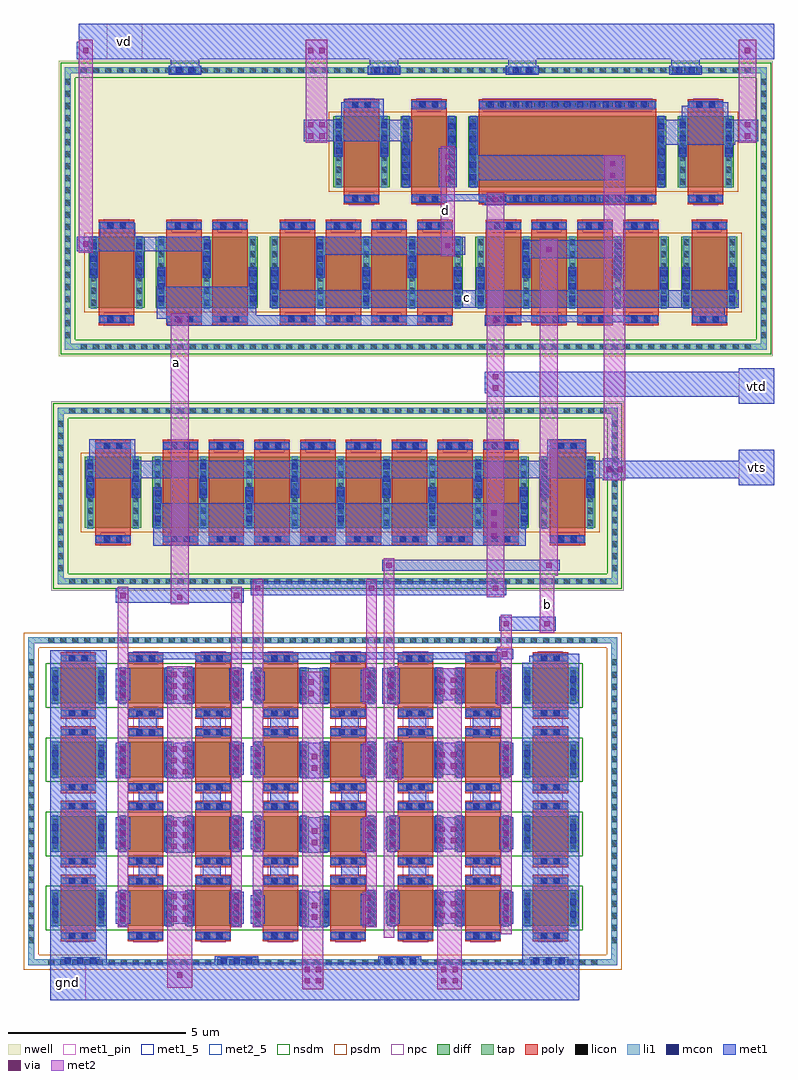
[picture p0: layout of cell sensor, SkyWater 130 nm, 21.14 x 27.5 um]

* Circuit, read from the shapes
.subckt sensor a b c d gnd vd vtd vts
XM1 gnd gnd gnd gnd sky130_fd_pr__nfet_01v8 w=1 l=1 m=8
XM2 gnd b a gnd sky130_fd_pr__nfet_01v8 w=1 l=1 m=8
XM3 gnd b vtd gnd sky130_fd_pr__nfet_01v8 w=1 l=1 m=8
XM4 gnd b b gnd sky130_fd_pr__nfet_01v8 w=1 l=1 m=8
XM5 vts vts vts vts sky130_fd_pr__pfet_01v8 w=2 l=1 m=2
XM6 vd vd vd vd sky130_fd_pr__pfet_01v8 w=2 l=1 m=3
XM7 vts vtd vtd vts sky130_fd_pr__pfet_01v8 w=2 l=1 m=8
XM8 vd a a vd sky130_fd_pr__pfet_01v8 w=2 l=1 m=2
XM9 d a c vd sky130_fd_pr__pfet_01v8 w=2 l=1 m=4
XM10 d vtd vd vd sky130_fd_pr__pfet_01v8 w=2 l=1
XM11 vd vtd vts vd sky130_fd_pr__pfet_01v8 w=2 l=5
XM12 b vtd c vd sky130_fd_pr__pfet_01v8 w=2 l=1 m=4
XM13 c c c vd sky130_fd_pr__pfet_01v8 w=2 l=1
.ends

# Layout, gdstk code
import gdstk
lib = gdstk.Library(unit=1e-6, precision=1e-09)
def R(c, l, rs):  # rectangles x0, y0, x1, y1
    for r in rs: c.add(gdstk.rectangle(r[:2], r[2:], *l))
def A(c, l, x, y, w, h, nx, ny, dx, dy):  # array of equal rectangles
    R(c, l, [(x+i*dx, y+j*dy, x+i*dx+w, y+j*dy+h) for i in range(nx) for j in range(ny)])
nwell = (64, 20)
diff = (65, 20)
tap = (65, 44)
poly = (66, 20)
licon = (66, 44)
li1 = (67, 20)
mcon = (67, 44)
met1_5 = (68, 5)
met1_pin = (68, 16)
met1 = (68, 20)
via = (68, 44)
met2_5 = (69, 5)
met2 = (69, 20)
nsdm = (93, 44)
psdm = (94, 20)
npc = (95, 20)

sky130_fd_pr__pfet_01v8_ = lib.new_cell('sky130_fd_pr__pfet_01v8_SKTYVM')
R(sky130_fd_pr__pfet_01v8_, nwell, [(-2.97,-1.5,2.97,1.5)])
R(sky130_fd_pr__pfet_01v8_, diff, [(-2.79,-1,2.79,1)])
R(sky130_fd_pr__pfet_01v8_, poly, [(-2.5,-1.485,2.5,1.485)])
A(sky130_fd_pr__pfet_01v8_, licon, -2.295, -1.405, 0.17, 0.17, 14, 2, 0.34, 2.64)
A(sky130_fd_pr__pfet_01v8_, licon, -2.73, -0.935, 0.17, 0.17, 1, 6, 0, 0.34)
A(sky130_fd_pr__pfet_01v8_, licon, 2.56, -0.935, 0.17, 0.17, 1, 6, 0, 0.34)
R(sky130_fd_pr__pfet_01v8_, li1, [(-2.5,-1.405,2.5,-1.235), (-2.73,-1.02,-2.56,1.02), (2.56,-1.02,2.73,1.02), (-2.5,1.235,2.5,1.405)])
A(sky130_fd_pr__pfet_01v8_, mcon, -2.245, -1.405, 0.17, 0.17, 13, 2, 0.36, 2.64)
A(sky130_fd_pr__pfet_01v8_, mcon, -2.73, -0.805, 0.17, 0.17, 1, 5, 0, 0.36)
A(sky130_fd_pr__pfet_01v8_, mcon, 2.56, -0.805, 0.17, 0.17, 1, 5, 0, 0.36)
R(sky130_fd_pr__pfet_01v8_, met1, [(-2.48,-1.435,2.48,-1.205), (-2.76,-1,-2.53,1), (2.53,-1,2.76,1), (-2.48,1.205,2.48,1.435)])
R(sky130_fd_pr__pfet_01v8_, psdm, [(-2.915,-1.125,2.915,1.125)])
R(sky130_fd_pr__pfet_01v8_, npc, [(-2.395,-1.505,2.395,-1.135), (-2.395,1.135,2.395,1.505)])

c_sky130_fd_pr__pfet_01v8_ = lib.new_cell('sky130_fd_pr__pfet_01v8_3HGYVM')
R(c_sky130_fd_pr__pfet_01v8_, nwell, [(-0.97,-1.5,0.97,1.5)])
R(c_sky130_fd_pr__pfet_01v8_, diff, [(-0.79,-1,0.79,1)])
R(c_sky130_fd_pr__pfet_01v8_, poly, [(-0.5,-1.485,0.5,1.485)])
A(c_sky130_fd_pr__pfet_01v8_, licon, -0.73, -0.935, 0.17, 0.17, 1, 6, 0, 0.34)
A(c_sky130_fd_pr__pfet_01v8_, licon, 0.56, -0.935, 0.17, 0.17, 1, 6, 0, 0.34)
R(c_sky130_fd_pr__pfet_01v8_, licon, [(-0.255,-1.405,-0.085,-1.235), (0.085,-1.405,0.255,-1.235), (-0.255,1.235,-0.085,1.405), (0.085,1.235,0.255,1.405)])
R(c_sky130_fd_pr__pfet_01v8_, li1, [(-0.5,-1.405,0.5,-1.235), (-0.73,-1.02,-0.56,1.02), (0.56,-1.02,0.73,1.02), (-0.5,1.235,0.5,1.405)])
A(c_sky130_fd_pr__pfet_01v8_, mcon, -0.73, -0.805, 0.17, 0.17, 1, 5, 0, 0.36)
A(c_sky130_fd_pr__pfet_01v8_, mcon, 0.56, -0.805, 0.17, 0.17, 1, 5, 0, 0.36)
R(c_sky130_fd_pr__pfet_01v8_, mcon, [(-0.265,-1.405,-0.095,-1.235), (0.095,-1.405,0.265,-1.235), (-0.265,1.235,-0.095,1.405), (0.095,1.235,0.265,1.405)])
R(c_sky130_fd_pr__pfet_01v8_, met1, [(-0.48,-1.435,0.48,-1.205), (-0.76,-1,-0.53,1), (0.53,-1,0.76,1), (-0.48,1.205,0.48,1.435)])
R(c_sky130_fd_pr__pfet_01v8_, psdm, [(-0.915,-1.125,0.915,1.125)])
R(c_sky130_fd_pr__pfet_01v8_, npc, [(-0.355,-1.505,0.355,-1.135), (-0.355,1.135,0.355,1.505)])

c_sky130_fd_pr__pfet_01v8__ = lib.new_cell('sky130_fd_pr__pfet_01v8_FVTXNM')
R(c_sky130_fd_pr__pfet_01v8__, nwell, [(-1.615,-1.5,1.615,1.5)])
R(c_sky130_fd_pr__pfet_01v8__, diff, [(-1.435,-1,1.435,1)])
R(c_sky130_fd_pr__pfet_01v8__, poly, [(-1.145,-1.485,-0.145,1.485), (0.145,-1.485,1.145,1.485)])
A(c_sky130_fd_pr__pfet_01v8__, licon, -1.375, -0.935, 0.17, 0.17, 3, 6, 1.29, 0.34)
R(c_sky130_fd_pr__pfet_01v8__, licon, [(-0.9,-1.405,-0.73,-1.235), (-0.56,-1.405,-0.39,-1.235), (0.39,-1.405,0.56,-1.235), (0.73,-1.405,0.9,-1.235), (-0.9,1.235,-0.73,1.405), (-0.56,1.235,-0.39,1.405), (0.39,1.235,0.56,1.405), (0.73,1.235,0.9,1.405)])
A(c_sky130_fd_pr__pfet_01v8__, li1, -1.375, -1.02, 0.17, 2.04, 3, 1, 1.29, 0)
R(c_sky130_fd_pr__pfet_01v8__, li1, [(-1.145,-1.405,-0.145,-1.235), (0.145,-1.405,1.145,-1.235), (-1.145,1.235,-0.145,1.405), (0.145,1.235,1.145,1.405)])
A(c_sky130_fd_pr__pfet_01v8__, mcon, -1.375, -0.83, 0.17, 0.17, 1, 3, 0, 0.36)
A(c_sky130_fd_pr__pfet_01v8__, mcon, 1.205, -0.83, 0.17, 0.17, 1, 3, 0, 0.36)
A(c_sky130_fd_pr__pfet_01v8__, mcon, -0.085, -0.06, 0.17, 0.17, 1, 3, 0, 0.36)
R(c_sky130_fd_pr__pfet_01v8__, mcon, [(-0.91,-1.405,-0.74,-1.235), (-0.55,-1.405,-0.38,-1.235), (0.38,-1.405,0.55,-1.235), (0.74,-1.405,0.91,-1.235), (-0.91,1.235,-0.74,1.405), (-0.55,1.235,-0.38,1.405), (0.38,1.235,0.55,1.405), (0.74,1.235,0.91,1.405)])
R(c_sky130_fd_pr__pfet_01v8__, met1, [(-1.125,-1.435,-0.165,-1.205), (0.165,-1.435,1.125,-1.205), (-1.405,-0.915,-1.175,0.145), (1.175,-0.915,1.405,0.145), (-0.115,-0.145,0.115,0.915), (-1.125,1.205,-0.165,1.435), (0.165,1.205,1.125,1.435)])
R(c_sky130_fd_pr__pfet_01v8__, psdm, [(-1.56,-1.125,1.56,1.125)])
R(c_sky130_fd_pr__pfet_01v8__, npc, [(-1,-1.505,-0.29,-1.135), (0.29,-1.505,1,-1.135), (-1,1.135,-0.29,1.505), (0.29,1.135,1,1.505)])

c_sky130_fd_pr__pfet_01v8___ = lib.new_cell('sky130_fd_pr__pfet_01v8_YAWWFM')
R(c_sky130_fd_pr__pfet_01v8___, nwell, [(-2.905,-1.5,2.905,1.5)])
R(c_sky130_fd_pr__pfet_01v8___, diff, [(-2.725,-1,2.725,1)])
A(c_sky130_fd_pr__pfet_01v8___, poly, -2.435, -1.485, 1, 2.97, 4, 1, 1.29, 0)
A(c_sky130_fd_pr__pfet_01v8___, licon, -2.665, -0.935, 0.17, 0.17, 5, 6, 1.29, 0.34)
R(c_sky130_fd_pr__pfet_01v8___, licon, [(-2.19,-1.405,-2.02,-1.235), (-1.85,-1.405,-1.68,-1.235), (-0.9,-1.405,-0.73,-1.235), (-0.56,-1.405,-0.39,-1.235), (0.39,-1.405,0.56,-1.235), (0.73,-1.405,0.9,-1.235), (1.68,-1.405,1.85,-1.235), (2.02,-1.405,2.19,-1.235), (-2.19,1.235,-2.02,1.405), (-1.85,1.235,-1.68,1.405), (-0.9,1.235,-0.73,1.405), (-0.56,1.235,-0.39,1.405), (0.39,1.235,0.56,1.405), (0.73,1.235,0.9,1.405), (1.68,1.235,1.85,1.405), (2.02,1.235,2.19,1.405)])
A(c_sky130_fd_pr__pfet_01v8___, li1, -2.435, -1.405, 1, 0.17, 4, 2, 1.29, 2.64)
A(c_sky130_fd_pr__pfet_01v8___, li1, -2.665, -1.02, 0.17, 2.04, 5, 1, 1.29, 0)
A(c_sky130_fd_pr__pfet_01v8___, mcon, -2.665, -0.83, 0.17, 0.17, 3, 3, 2.58, 0.36)
A(c_sky130_fd_pr__pfet_01v8___, mcon, -1.375, -0.06, 0.17, 0.17, 1, 3, 0, 0.36)
A(c_sky130_fd_pr__pfet_01v8___, mcon, 1.205, -0.06, 0.17, 0.17, 1, 3, 0, 0.36)
R(c_sky130_fd_pr__pfet_01v8___, mcon, [(-2.2,-1.405,-2.03,-1.235), (-1.84,-1.405,-1.67,-1.235), (-0.91,-1.405,-0.74,-1.235), (-0.55,-1.405,-0.38,-1.235), (0.38,-1.405,0.55,-1.235), (0.74,-1.405,0.91,-1.235), (1.67,-1.405,1.84,-1.235), (2.03,-1.405,2.2,-1.235), (-2.2,1.235,-2.03,1.405), (-1.84,1.235,-1.67,1.405), (-0.91,1.235,-0.74,1.405), (-0.55,1.235,-0.38,1.405), (0.38,1.235,0.55,1.405), (0.74,1.235,0.91,1.405), (1.67,1.235,1.84,1.405), (2.03,1.235,2.2,1.405)])
A(c_sky130_fd_pr__pfet_01v8___, met1, -2.415, -1.435, 0.96, 0.23, 4, 2, 1.29, 2.64)
A(c_sky130_fd_pr__pfet_01v8___, met1, -2.695, -0.915, 0.23, 1.06, 3, 1, 2.58, 0)
R(c_sky130_fd_pr__pfet_01v8___, met1, [(-1.405,-0.145,-1.175,0.915), (1.175,-0.145,1.405,0.915)])
R(c_sky130_fd_pr__pfet_01v8___, psdm, [(-2.85,-1.125,2.85,1.125)])
A(c_sky130_fd_pr__pfet_01v8___, npc, -2.29, -1.505, 0.71, 0.37, 4, 2, 1.29, 2.64)

c_sky130_fd_pr__pfet_01v8____ = lib.new_cell('sky130_fd_pr__pfet_01v8_YAEUFM')
R(c_sky130_fd_pr__pfet_01v8____, nwell, [(-5.485,-1.5,5.485,1.5)])
R(c_sky130_fd_pr__pfet_01v8____, diff, [(-5.305,-1,5.305,1)])
A(c_sky130_fd_pr__pfet_01v8____, poly, -5.015, -1.485, 1, 2.97, 8, 1, 1.29, 0)
A(c_sky130_fd_pr__pfet_01v8____, licon, -5.245, -0.935, 0.17, 0.17, 9, 6, 1.29, 0.34)
R(c_sky130_fd_pr__pfet_01v8____, licon, [(-4.77,-1.405,-4.6,-1.235), (-4.43,-1.405,-4.26,-1.235), (-3.48,-1.405,-3.31,-1.235), (-3.14,-1.405,-2.97,-1.235), (-2.19,-1.405,-2.02,-1.235), (-1.85,-1.405,-1.68,-1.235), (-0.9,-1.405,-0.73,-1.235), (-0.56,-1.405,-0.39,-1.235), (0.39,-1.405,0.56,-1.235), (0.73,-1.405,0.9,-1.235), (1.68,-1.405,1.85,-1.235), (2.02,-1.405,2.19,-1.235), (2.97,-1.405,3.14,-1.235), (3.31,-1.405,3.48,-1.235), (4.26,-1.405,4.43,-1.235), (4.6,-1.405,4.77,-1.235), (-4.77,1.235,-4.6,1.405), (-4.43,1.235,-4.26,1.405), (-3.48,1.235,-3.31,1.405), (-3.14,1.235,-2.97,1.405), (-2.19,1.235,-2.02,1.405), (-1.85,1.235,-1.68,1.405), (-0.9,1.235,-0.73,1.405), (-0.56,1.235,-0.39,1.405), (0.39,1.235,0.56,1.405), (0.73,1.235,0.9,1.405), (1.68,1.235,1.85,1.405), (2.02,1.235,2.19,1.405), (2.97,1.235,3.14,1.405), (3.31,1.235,3.48,1.405), (4.26,1.235,4.43,1.405), (4.6,1.235,4.77,1.405)])
A(c_sky130_fd_pr__pfet_01v8____, li1, -5.015, -1.405, 1, 0.17, 8, 2, 1.29, 2.64)
A(c_sky130_fd_pr__pfet_01v8____, li1, -5.245, -1.02, 0.17, 2.04, 9, 1, 1.29, 0)
A(c_sky130_fd_pr__pfet_01v8____, mcon, -5.245, -0.83, 0.17, 0.17, 5, 3, 2.58, 0.36)
A(c_sky130_fd_pr__pfet_01v8____, mcon, -3.955, -0.06, 0.17, 0.17, 4, 3, 2.58, 0.36)
R(c_sky130_fd_pr__pfet_01v8____, mcon, [(-4.78,-1.405,-4.61,-1.235), (-4.42,-1.405,-4.25,-1.235), (-3.49,-1.405,-3.32,-1.235), (-3.13,-1.405,-2.96,-1.235), (-2.2,-1.405,-2.03,-1.235), (-1.84,-1.405,-1.67,-1.235), (-0.91,-1.405,-0.74,-1.235), (-0.55,-1.405,-0.38,-1.235), (0.38,-1.405,0.55,-1.235), (0.74,-1.405,0.91,-1.235), (1.67,-1.405,1.84,-1.235), (2.03,-1.405,2.2,-1.235), (2.96,-1.405,3.13,-1.235), (3.32,-1.405,3.49,-1.235), (4.25,-1.405,4.42,-1.235), (4.61,-1.405,4.78,-1.235), (-4.78,1.235,-4.61,1.405), (-4.42,1.235,-4.25,1.405), (-3.49,1.235,-3.32,1.405), (-3.13,1.235,-2.96,1.405), (-2.2,1.235,-2.03,1.405), (-1.84,1.235,-1.67,1.405), (-0.91,1.235,-0.74,1.405), (-0.55,1.235,-0.38,1.405), (0.38,1.235,0.55,1.405), (0.74,1.235,0.91,1.405), (1.67,1.235,1.84,1.405), (2.03,1.235,2.2,1.405), (2.96,1.235,3.13,1.405), (3.32,1.235,3.49,1.405), (4.25,1.235,4.42,1.405), (4.61,1.235,4.78,1.405)])
A(c_sky130_fd_pr__pfet_01v8____, met1, -4.995, -1.435, 0.96, 0.23, 8, 2, 1.29, 2.64)
A(c_sky130_fd_pr__pfet_01v8____, met1, -5.275, -0.915, 0.23, 1.06, 5, 1, 2.58, 0)
A(c_sky130_fd_pr__pfet_01v8____, met1, -3.985, -0.145, 0.23, 1.06, 4, 1, 2.58, 0)
R(c_sky130_fd_pr__pfet_01v8____, psdm, [(-5.43,-1.125,5.43,1.125)])
A(c_sky130_fd_pr__pfet_01v8____, npc, -4.87, -1.505, 0.71, 0.37, 8, 2, 1.29, 2.64)

c_sky130_fd_pr__pfet_01v8_____ = lib.new_cell('sky130_fd_pr__pfet_01v8_FVXEPM')
R(c_sky130_fd_pr__pfet_01v8_____, nwell, [(-0.97,-1.5,0.97,1.5)])
R(c_sky130_fd_pr__pfet_01v8_____, diff, [(-0.79,-1,0.79,1)])
R(c_sky130_fd_pr__pfet_01v8_____, poly, [(-0.5,-1.485,0.5,1.485)])
A(c_sky130_fd_pr__pfet_01v8_____, licon, -0.73, -0.935, 0.17, 0.17, 1, 6, 0, 0.34)
A(c_sky130_fd_pr__pfet_01v8_____, licon, 0.56, -0.935, 0.17, 0.17, 1, 6, 0, 0.34)
R(c_sky130_fd_pr__pfet_01v8_____, licon, [(-0.255,-1.405,-0.085,-1.235), (0.085,-1.405,0.255,-1.235), (-0.255,1.235,-0.085,1.405), (0.085,1.235,0.255,1.405)])
R(c_sky130_fd_pr__pfet_01v8_____, li1, [(-0.5,-1.405,0.5,-1.235), (-0.73,-1.02,-0.56,1.02), (0.56,-1.02,0.73,1.02), (-0.5,1.235,0.5,1.405)])
A(c_sky130_fd_pr__pfet_01v8_____, mcon, -0.73, -0.83, 0.17, 0.17, 1, 3, 0, 0.36)
A(c_sky130_fd_pr__pfet_01v8_____, mcon, 0.56, -0.83, 0.17, 0.17, 1, 3, 0, 0.36)
R(c_sky130_fd_pr__pfet_01v8_____, mcon, [(-0.265,-1.405,-0.095,-1.235), (0.095,-1.405,0.265,-1.235), (-0.265,1.235,-0.095,1.405), (0.095,1.235,0.265,1.405)])
R(c_sky130_fd_pr__pfet_01v8_____, met1, [(-0.48,-1.435,0.48,-1.205), (-0.76,-0.915,-0.53,0.145), (0.53,-0.915,0.76,0.145), (-0.48,1.205,0.48,1.435)])
R(c_sky130_fd_pr__pfet_01v8_____, psdm, [(-0.915,-1.125,0.915,1.125)])
R(c_sky130_fd_pr__pfet_01v8_____, npc, [(-0.355,-1.505,0.355,-1.135), (-0.355,1.135,0.355,1.505)])

c_sky130_fd_pr__pfet_01v8______ = lib.new_cell('sky130_fd_pr__pfet_01v8_FRXWNM')
R(c_sky130_fd_pr__pfet_01v8______, nwell, [(-0.97,-1.5,0.97,1.5)])
R(c_sky130_fd_pr__pfet_01v8______, diff, [(-0.79,-1,0.79,1)])
R(c_sky130_fd_pr__pfet_01v8______, poly, [(-0.5,-1.485,0.5,1.485)])
A(c_sky130_fd_pr__pfet_01v8______, licon, -0.73, -0.935, 0.17, 0.17, 1, 6, 0, 0.34)
A(c_sky130_fd_pr__pfet_01v8______, licon, 0.56, -0.935, 0.17, 0.17, 1, 6, 0, 0.34)
R(c_sky130_fd_pr__pfet_01v8______, licon, [(-0.255,-1.405,-0.085,-1.235), (0.085,-1.405,0.255,-1.235), (-0.255,1.235,-0.085,1.405), (0.085,1.235,0.255,1.405)])
R(c_sky130_fd_pr__pfet_01v8______, li1, [(-0.5,-1.405,0.5,-1.235), (-0.73,-1.02,-0.56,1.02), (0.56,-1.02,0.73,1.02), (-0.5,1.235,0.5,1.405)])
A(c_sky130_fd_pr__pfet_01v8______, mcon, -0.73, -0.06, 0.17, 0.17, 1, 3, 0, 0.36)
A(c_sky130_fd_pr__pfet_01v8______, mcon, 0.56, -0.06, 0.17, 0.17, 1, 3, 0, 0.36)
R(c_sky130_fd_pr__pfet_01v8______, mcon, [(-0.265,-1.405,-0.095,-1.235), (0.095,-1.405,0.265,-1.235), (-0.265,1.235,-0.095,1.405), (0.095,1.235,0.265,1.405)])
R(c_sky130_fd_pr__pfet_01v8______, met1, [(-0.48,-1.435,0.48,-1.205), (-0.76,-0.145,-0.53,0.915), (0.53,-0.145,0.76,0.915), (-0.48,1.205,0.48,1.435)])
R(c_sky130_fd_pr__pfet_01v8______, psdm, [(-0.915,-1.125,0.915,1.125)])
R(c_sky130_fd_pr__pfet_01v8______, npc, [(-0.355,-1.505,0.355,-1.135), (-0.355,1.135,0.355,1.505)])

sky130_fd_pr__nfet_01v8_ = lib.new_cell('sky130_fd_pr__nfet_01v8_9VJR3B')
A(sky130_fd_pr__nfet_01v8_, diff, -0.79, -3.635, 1.58, 1, 1, 4, 0, 2.09)
A(sky130_fd_pr__nfet_01v8_, poly, -0.5, -4.075, 1, 1.88, 1, 4, 0, 2.09)
A(sky130_fd_pr__nfet_01v8_, licon, -0.73, -3.56, 0.17, 0.17, 1, 3, 0, 0.34)
A(sky130_fd_pr__nfet_01v8_, licon, 0.56, -3.56, 0.17, 0.17, 1, 3, 0, 0.34)
A(sky130_fd_pr__nfet_01v8_, licon, -0.73, -1.47, 0.17, 0.17, 1, 3, 0, 0.34)
A(sky130_fd_pr__nfet_01v8_, licon, 0.56, -1.47, 0.17, 0.17, 1, 3, 0, 0.34)
A(sky130_fd_pr__nfet_01v8_, licon, -0.73, 0.62, 0.17, 0.17, 1, 3, 0, 0.34)
A(sky130_fd_pr__nfet_01v8_, licon, 0.56, 0.62, 0.17, 0.17, 1, 3, 0, 0.34)
A(sky130_fd_pr__nfet_01v8_, licon, -0.73, 2.71, 0.17, 0.17, 1, 3, 0, 0.34)
A(sky130_fd_pr__nfet_01v8_, licon, 0.56, 2.71, 0.17, 0.17, 1, 3, 0, 0.34)
R(sky130_fd_pr__nfet_01v8_, licon, [(-0.255,-3.995,-0.085,-3.825), (0.085,-3.995,0.255,-3.825), (-0.255,-2.445,-0.085,-2.275), (0.085,-2.445,0.255,-2.275), (-0.255,-1.905,-0.085,-1.735), (0.085,-1.905,0.255,-1.735), (-0.255,-0.355,-0.085,-0.185), (0.085,-0.355,0.255,-0.185), (-0.255,0.185,-0.085,0.355), (0.085,0.185,0.255,0.355), (-0.255,1.735,-0.085,1.905), (0.085,1.735,0.255,1.905), (-0.255,2.275,-0.085,2.445), (0.085,2.275,0.255,2.445), (-0.255,3.825,-0.085,3.995), (0.085,3.825,0.255,3.995)])
A(sky130_fd_pr__nfet_01v8_, li1, -0.73, -3.655, 0.17, 1.04, 1, 4, 0, 2.09)
A(sky130_fd_pr__nfet_01v8_, li1, 0.56, -3.655, 0.17, 1.04, 1, 4, 0, 2.09)
R(sky130_fd_pr__nfet_01v8_, li1, [(-0.5,-3.995,0.5,-3.825), (-0.5,-2.445,0.5,-2.275), (-0.5,-1.905,0.5,-1.735), (-0.5,-0.355,0.5,-0.185), (-0.5,0.185,0.5,0.355), (-0.5,1.735,0.5,1.905), (-0.5,2.275,0.5,2.445), (-0.5,3.825,0.5,3.995)])
R(sky130_fd_pr__nfet_01v8_, mcon, [(-0.265,-3.995,-0.095,-3.825), (0.095,-3.995,0.265,-3.825), (-0.73,-3.4,-0.56,-3.23), (0.56,-3.4,0.73,-3.23), (-0.73,-3.04,-0.56,-2.87), (0.56,-3.04,0.73,-2.87), (-0.265,-2.445,-0.095,-2.275), (0.095,-2.445,0.265,-2.275), (-0.265,-1.905,-0.095,-1.735), (0.095,-1.905,0.265,-1.735), (-0.73,-1.31,-0.56,-1.14), (0.56,-1.31,0.73,-1.14), (-0.73,-0.95,-0.56,-0.78), (0.56,-0.95,0.73,-0.78), (-0.265,-0.355,-0.095,-0.185), (0.095,-0.355,0.265,-0.185), (-0.265,0.185,-0.095,0.355), (0.095,0.185,0.265,0.355), (-0.73,0.78,-0.56,0.95), (0.56,0.78,0.73,0.95), (-0.73,1.14,-0.56,1.31), (0.56,1.14,0.73,1.31), (-0.265,1.735,-0.095,1.905), (0.095,1.735,0.265,1.905), (-0.265,2.275,-0.095,2.445), (0.095,2.275,0.265,2.445), (-0.73,2.87,-0.56,3.04), (0.56,2.87,0.73,3.04), (-0.73,3.23,-0.56,3.4), (0.56,3.23,0.73,3.4), (-0.265,3.825,-0.095,3.995), (0.095,3.825,0.265,3.995)])
A(sky130_fd_pr__nfet_01v8_, met1, -0.76, -3.635, 0.23, 1, 1, 4, 0, 2.09)
A(sky130_fd_pr__nfet_01v8_, met1, 0.53, -3.635, 0.23, 1, 1, 4, 0, 2.09)
R(sky130_fd_pr__nfet_01v8_, met1, [(-0.48,-4.025,0.48,-3.795), (-0.48,-2.475,0.48,-2.245), (-0.48,-1.935,0.48,-1.705), (-0.48,-0.385,0.48,-0.155), (-0.48,0.155,0.48,0.385), (-0.48,1.705,0.48,1.935), (-0.48,2.245,0.48,2.475), (-0.48,3.795,0.48,4.025)])
A(sky130_fd_pr__nfet_01v8_, nsdm, -0.915, -3.76, 1.83, 1.25, 1, 4, 0, 2.09)
A(sky130_fd_pr__nfet_01v8_, npc, -0.355, -2.545, 0.71, 0.91, 1, 3, 0, 2.09)
R(sky130_fd_pr__nfet_01v8_, npc, [(-0.355,-4.095,0.355,-3.725), (-0.355,3.725,0.355,4.095)])

sensor = lib.new_cell('sensor')
R(sensor, nwell, [(-2.465,-0.965,13.665,4.365), (-2.265,5.635,17.865,13.965)])
R(sensor, tap, [(-3.12,-11.52,13.48,-11.35), (-3.12,-11.35,-2.95,-2.45), (13.31,-11.35,13.48,-2.45), (-3.12,-2.45,13.48,-2.28), (-2.285,-0.785,13.485,-0.615), (-2.285,-0.615,-2.115,4.015), (13.315,-0.615,13.485,4.015), (-2.285,4.015,13.485,4.185), (-2.085,5.815,17.685,5.985), (-2.085,5.985,-1.915,13.615), (17.515,5.985,17.685,13.615), (-2.085,13.615,17.685,13.785)])
A(sensor, licon, -2.555, -11.52, 0.17, 0.17, 46, 2, 0.34, 9.07)
A(sensor, licon, -3.12, -10.895, 0.17, 0.17, 1, 24, 0, 0.34)
A(sensor, licon, 13.31, -10.895, 0.17, 0.17, 1, 24, 0, 0.34)
A(sensor, licon, -1.965, -0.785, 0.17, 0.17, 45, 2, 0.34, 4.8)
A(sensor, licon, -2.285, -0.425, 0.17, 0.17, 1, 13, 0, 0.34)
A(sensor, licon, 13.315, -0.425, 0.17, 0.17, 1, 13, 0, 0.34)
A(sensor, licon, -1.635, 5.815, 0.17, 0.17, 56, 2, 0.34, 7.8)
A(sensor, licon, -2.085, 6.145, 0.17, 0.17, 1, 22, 0, 0.34)
A(sensor, licon, 17.515, 6.145, 0.17, 0.17, 1, 22, 0, 0.34)
R(sensor, li1, [(-3.12,-11.52,13.48,-11.35), (-3.12,-11.35,-2.95,-2.45), (-2.2,-11.35,-1.1,-11.3), (2.2,-11.35,3.3,-11.3), (6.8,-11.35,7.9,-11.3), (11,-11.35,12.1,-11.3), (13.31,-11.35,13.48,-2.45), (-3.12,-2.45,13.48,-2.28), (-2.285,-0.785,13.485,-0.615), (-2.285,-0.615,-2.115,4.015), (13.315,-0.615,13.485,2.2), (13.1,2.2,13.5,2.7), (13.315,2.7,13.485,4.015), (-2.285,4.015,13.485,4.185), (-2.085,5.815,17.685,5.985), (-2.085,5.985,-1.915,13.615), (17.515,5.985,17.685,13.615), (0.9,13.6,1.7,13.615), (6.5,13.6,7.3,13.615), (10.4,13.6,11.2,13.615), (15,13.6,15.8,13.615), (-2.085,13.615,17.685,13.785), (0.9,13.785,1.7,13.8), (6.5,13.785,7.3,13.8), (10.4,13.785,11.2,13.8), (15,13.785,15.8,13.8)])
A(sensor, mcon, -2.095, -11.485, 0.17, 0.17, 3, 1, 0.36, 0)
A(sensor, mcon, 2.305, -11.485, 0.17, 0.17, 3, 1, 0.36, 0)
A(sensor, mcon, 6.905, -11.485, 0.17, 0.17, 3, 1, 0.36, 0)
A(sensor, mcon, 11.105, -11.485, 0.17, 0.17, 3, 1, 0.36, 0)
R(sensor, mcon, [(13.215,2.365,13.385,2.535), (1.035,13.615,1.205,13.785), (1.395,13.615,1.565,13.785), (6.635,13.615,6.805,13.785), (6.995,13.615,7.165,13.785), (10.535,13.615,10.705,13.785), (10.895,13.615,11.065,13.785), (15.135,13.615,15.305,13.785), (15.495,13.615,15.665,13.785)])
R(sensor, met1_5, [(9.2,7.2,9.3,7.4)])
R(sensor, met1_pin, [(-2.5,-12.5,-1.5,-11.5), (16.9,2,17.9,3), (16.9,4.3,17.9,5.3), (-0.9,14,0.1,15)])
A(sensor, met1, 4.6, -10.45, 0.7, 1, 1, 3, 0, 2.1)
A(sensor, met1, 6.25, -10.4, 0.4, 0.9, 1, 4, 0, 2.1)
A(sensor, met1, 2.55, -10.35, 0.4, 0.9, 1, 4, 0, 2.1)
A(sensor, met1, 3.15, -10.35, 0.4, 0.8, 1, 4, 0, 2.1)
A(sensor, met1, 8.35, -10.35, 0.75, 0.8, 1, 4, 0, 2.1)
A(sensor, met1, 10.15, -10.35, 0.4, 0.9, 1, 3, 0, 2.1)
A(sensor, met1, 8.4, -9.55, 0.7, 0.1, 1, 4, 0, 2.1)
A(sensor, met1, 0, -9.2, 0.5, 0.7, 1, 3, 0, 2.1)
A(sensor, met1, 0.75, -8.35, 0.8, 1, 1, 3, 0, 2.1)
R(sensor, met1, [(-2.5,-12.5,12.4,-11.45), (-2.5,-11.45,-0.9,-2.65), (2.14,-11.45,3.36,-11.27), (6.74,-11.45,7.96,-11.27), (10.8,-11.45,12.4,-3), (-0.65,-10.35,-0.25,-9.45), (0.75,-10.35,1.55,-9.45), (6.95,-10.35,7.35,-9.45), (1.8,-9.2,2.3,-8.48), (3.7,-9.2,4.2,-8.48), (5.7,-9.2,6.2,-8.48), (7.6,-9.2,8.1,-8.48), (9.4,-9.2,9.9,-8.48), (-0.65,-8.25,-0.25,-7.35), (6.95,-8.25,7.35,-7.35), (1.8,-7.1,2.3,-6.39), (3.7,-7.1,4.2,-6.39), (5.7,-7.1,6.2,-6.39), (7.6,-7.1,8.1,-6.39), (9.4,-7.1,9.9,-6.39), (-0.65,-6.25,-0.25,-5.25), (6.95,-6.25,7.45,-5.25), (1.8,-5.1,2.3,-4.4), (3.7,-5.1,4.2,-4.4), (5.7,-5.1,6.2,-4.4), (7.6,-5.1,8.1,-4.4), (9.4,-5.1,9.9,-4.4), (4.6,-4.15,5.3,-4.05), (6.85,-4.15,7.35,-3.15), (10.05,-4.15,10.45,-3.25), (-0.65,-4.05,-0.25,-3.15), (4.55,-4.05,5.3,-3.35), (4.6,-3.35,5.3,-3.15), (11,-3,12.4,-2.8), (-0.3,-2.9,10.55,-2.7), (11.8,-2.8,12.4,-2.75), (10.05,-2.7,10.55,-2.6), (10.15,-2.1,11.75,-1.7), (-0.65,-1.3,2.95,-0.9), (3.15,-1.1,10.35,-0.7), (6.85,-0.4,11.85,-0.1), (0.4,0.3,10.9,1.5), (16.9,2,17.9,2.2), (13.07,2.14,13.53,2.2), (-1.5,2.2,17.9,2.7), (-1.4,2.7,-0.1,3.3), (11.5,2.7,12.6,3.3), (13.07,2.7,13.53,2.76), (16.9,2.7,17.9,3), (16.9,4.3,17.9,4.5), (9.8,4.5,17.9,4.6), (9.75,4.6,17.9,5.2), (16.9,5.2,17.9,5.3), (0.8,6.5,8.8,6.7), (9.75,6.5,10.35,6.6), (9.75,6.6,14.6,6.8), (15.6,6.6,16.5,7), (0.5,6.7,8.8,6.8), (0.5,6.8,3.3,7.6), (3.7,7,16.9,7.5), (10.8,8.4,13.6,8.9), (5,8.5,9.2,9), (-1.75,8.6,2,9), (-1.1,9,-0.1,9.4), (9.75,9.9,10.35,10), (7.7,10,10.35,10.2), (8.45,10.4,8.95,11.5), (9.3,10.6,13.65,11.2), (9.3,11.2,13.6,11.3), (14.6,11.6,16.8,11.7), (4.65,11.7,7.7,12.3), (14.6,11.7,17.45,12.3), (5.7,12.3,6.9,12.8), (15.3,12.3,16.6,12.7), (15.5,12.7,16.6,12.8), (5.8,12.8,6.9,12.9), (0.84,13.57,1.76,13.83), (6.44,13.57,7.36,13.83), (10.34,13.57,11.26,13.83), (14.94,13.57,15.86,13.83), (0.9,13.83,1.7,14), (6.5,13.83,7.3,14), (10.4,13.83,11.2,14), (15,13.83,15.8,14), (-1.75,14,17.9,14.5), (-1.7,14.5,17.9,15)])
A(sensor, via, 6.375, -10.345, 0.15, 0.15, 1, 3, 0, 0.32)
A(sensor, via, -0.525, -10.295, 0.15, 0.15, 1, 3, 0, 0.32)
A(sensor, via, 0.915, -10.295, 0.15, 0.15, 1, 3, 0, 0.32)
A(sensor, via, 1.235, -10.295, 0.15, 0.15, 1, 3, 0, 0.32)
A(sensor, via, 2.675, -10.295, 0.15, 0.15, 1, 3, 0, 0.32)
A(sensor, via, 7.075, -10.295, 0.15, 0.15, 1, 3, 0, 0.32)
A(sensor, via, 10.275, -10.295, 0.15, 0.15, 1, 3, 0, 0.32)
A(sensor, via, 0.915, -8.245, 0.15, 0.15, 1, 3, 0, 0.32)
A(sensor, via, 1.235, -8.245, 0.15, 0.15, 1, 3, 0, 0.32)
A(sensor, via, 6.375, -8.245, 0.15, 0.15, 1, 3, 0, 0.32)
A(sensor, via, -0.525, -8.195, 0.15, 0.15, 1, 3, 0, 0.32)
A(sensor, via, 2.675, -8.195, 0.15, 0.15, 1, 3, 0, 0.32)
A(sensor, via, 7.075, -8.195, 0.15, 0.15, 1, 3, 0, 0.32)
A(sensor, via, 10.275, -8.195, 0.15, 0.15, 1, 3, 0, 0.32)
A(sensor, via, -0.525, -6.145, 0.15, 0.15, 1, 3, 0, 0.32)
A(sensor, via, 0.915, -6.145, 0.15, 0.15, 1, 3, 0, 0.32)
A(sensor, via, 1.235, -6.145, 0.15, 0.15, 1, 3, 0, 0.32)
A(sensor, via, 6.375, -6.145, 0.15, 0.15, 1, 3, 0, 0.32)
A(sensor, via, 7.125, -6.145, 0.15, 0.15, 1, 3, 0, 0.32)
A(sensor, via, 2.675, -6.095, 0.15, 0.15, 1, 3, 0, 0.32)
A(sensor, via, 10.275, -6.095, 0.15, 0.15, 1, 3, 0, 0.32)
A(sensor, via, 10.175, -4.095, 0.15, 0.15, 1, 3, 0, 0.32)
A(sensor, via, 0.915, -4.045, 0.15, 0.15, 1, 3, 0, 0.32)
A(sensor, via, 1.235, -4.045, 0.15, 0.15, 1, 3, 0, 0.32)
A(sensor, via, 6.375, -4.045, 0.15, 0.15, 1, 3, 0, 0.32)
A(sensor, via, 7.025, -4.045, 0.15, 0.15, 1, 3, 0, 0.32)
A(sensor, via, -0.525, -3.995, 0.15, 0.15, 1, 3, 0, 0.32)
A(sensor, via, 2.675, -3.995, 0.15, 0.15, 1, 3, 0, 0.32)
A(sensor, via, 9.925, 0.505, 0.15, 0.15, 1, 3, 0, 0.32)
A(sensor, via, 8.625, 10.555, 0.15, 0.15, 1, 3, 0, 0.32)
R(sensor, via, [(4.665,-12.035,4.815,-11.885), (4.985,-12.035,5.135,-11.885), (8.515,-12.035,8.665,-11.885), (8.835,-12.035,8.985,-11.885), (1.075,-11.875,1.225,-11.725), (4.665,-11.715,4.815,-11.565), (4.985,-11.715,5.135,-11.565), (8.515,-11.715,8.665,-11.565), (8.835,-11.715,8.985,-11.565), (4.875,-10.235,5.025,-10.085), (3.275,-10.185,3.425,-10.035), (8.465,-10.185,8.615,-10.035), (8.785,-10.185,8.935,-10.035), (4.875,-9.915,5.025,-9.765), (3.275,-9.865,3.425,-9.715), (8.465,-9.865,8.615,-9.715), (8.785,-9.865,8.935,-9.715), (4.875,-8.135,5.025,-7.985), (3.275,-8.085,3.425,-7.935), (8.465,-8.085,8.615,-7.935), (8.785,-8.085,8.935,-7.935), (4.875,-7.815,5.025,-7.665), (3.275,-7.765,3.425,-7.615), (8.465,-7.765,8.615,-7.615), (8.785,-7.765,8.935,-7.615), (4.875,-6.035,5.025,-5.885), (3.275,-5.985,3.425,-5.835), (8.465,-5.985,8.615,-5.835), (8.785,-5.985,8.935,-5.835), (4.875,-5.715,5.025,-5.565), (3.275,-5.665,3.425,-5.515), (8.465,-5.665,8.615,-5.515), (8.785,-5.665,8.935,-5.515), (4.775,-3.935,4.925,-3.785), (3.275,-3.885,3.425,-3.735), (8.465,-3.885,8.615,-3.735), (8.785,-3.885,8.935,-3.735), (4.775,-3.615,4.925,-3.465), (3.275,-3.565,3.425,-3.415), (8.465,-3.565,8.615,-3.415), (8.785,-3.565,8.935,-3.415), (10.225,-2.825,10.375,-2.675), (10.275,-1.975,10.425,-1.825), (11.425,-1.975,11.575,-1.825), (1.075,-1.225,1.225,-1.075), (-0.525,-1.175,-0.375,-1.025), (2.675,-1.175,2.825,-1.025), (3.275,-0.975,3.425,-0.825), (6.475,-0.975,6.625,-0.825), (9.975,-0.975,10.125,-0.825), (6.975,-0.325,7.125,-0.175), (11.475,-0.325,11.625,-0.175), (13.165,2.375,13.315,2.525), (13.485,2.375,13.635,2.525), (9.975,4.665,10.125,4.815), (9.975,4.985,10.125,5.135), (1.075,6.575,1.225,6.725), (9.975,6.575,10.125,6.725), (11.475,8.575,11.625,8.725), (8.625,8.675,8.775,8.825), (-1.575,8.725,-1.425,8.875), (9.975,9.975,10.125,10.125), (13.275,10.665,13.425,10.815), (13.275,10.985,13.425,11.135), (4.765,11.765,4.915,11.915), (5.085,11.765,5.235,11.915), (17.075,11.765,17.225,11.915), (4.765,12.085,4.915,12.235), (5.085,12.085,5.235,12.235), (17.075,12.085,17.225,12.235), (-1.575,14.175,-1.425,14.325), (4.765,14.175,4.915,14.325), (5.085,14.175,5.235,14.325), (17.075,14.175,17.225,14.325)])
R(sensor, met2_5, [(1,5.4,1.1,5.5), (8.6,9.7,8.7,9.8)])
A(sensor, met2, 6.3, -10.45, 0.4, 1, 1, 4, 0, 2.1)
A(sensor, met2, 6.4, -9.45, 0.3, 1.1, 1, 3, 0, 2.1)
R(sensor, met2, [(4.6,-12.2,5.2,-3.25), (8.4,-12.2,9.1,-3.15), (0.8,-12.15,1.5,-3.1), (6.9,-10.75,7.2,-10.4), (10.2,-10.65,10.5,-4.2), (-0.6,-10.45,-0.3,-0.85), (2.6,-10.45,2.9,-0.85), (3.2,-10.45,3.5,-0.65), (6.9,-10.4,7.3,-9.4), (6.9,-9.4,7.2,-8.3), (6.9,-8.3,7.3,-7.3), (6.9,-7.3,7.2,-6.3), (6.9,-6.3,7.4,-5.2), (6.9,-5.2,7.2,-4.2), (6.9,-4.2,7.3,-3.1), (10.1,-4.2,10.5,-3.2), (10.2,-3.2,10.5,-2.95), (6.4,-3.15,6.7,-0.65), (6.9,-3.1,7.2,-0.05), (10.1,-2.95,10.5,-2.55), (10.2,-2.55,10.5,-1.65), (11.3,-2.15,11.7,-0.55), (0.9,-1.35,1.4,6.85), (9.8,-1.15,10.3,10.25), (11.3,-0.55,11.8,8.95), (13.1,2.15,13.7,11.3), (8.5,8.45,8.9,11.55), (-1.7,8.55,-1.3,14.55), (4.7,11.65,5.3,14.55), (16.9,11.65,17.4,14.55)])
A(sensor, nsdm, -0.795, -10.535, 0.07, 1.25, 7, 4, 1.9, 2.09)
R(sensor, nsdm, [(-2.41,-0.91,13.61,-0.49), (-2.41,-0.49,-1.99,3.89), (13.19,-0.49,13.61,3.89), (-2.41,3.89,13.61,4.31), (-2.21,5.69,17.81,6.11), (-2.21,6.11,-1.79,13.49), (17.39,6.11,17.81,13.49), (-2.21,13.49,17.81,13.91)])
R(sensor, psdm, [(-3.245,-11.645,13.605,-11.225), (-3.245,-11.225,-2.825,-2.575), (13.185,-11.225,13.605,-2.575), (-3.245,-2.575,13.605,-2.155), (0.185,0.675,0.255,2.925), (11.115,0.675,11.155,2.925), (0.285,6.875,0.355,9.125), (3.475,6.875,3.555,9.125), (9.255,6.875,9.355,9.125), (15.055,6.875,15.155,9.125), (7.185,10.275,7.255,12.525), (9.085,10.275,9.155,12.525), (14.985,10.275,15.055,12.525)])
sensor.add(gdstk.Reference(sky130_fd_pr__pfet_01v8_, (12.07,11.4)))
sensor.add(gdstk.Reference(c_sky130_fd_pr__pfet_01v8_, (8.17,11.4)))
sensor.add(gdstk.Reference(c_sky130_fd_pr__pfet_01v8__, (1.915,8)))
sensor.add(gdstk.Reference(c_sky130_fd_pr__pfet_01v8___, (12.205,8)))
sensor.add(gdstk.Reference(c_sky130_fd_pr__pfet_01v8___, (6.405,8)))
sensor.add(gdstk.Reference(c_sky130_fd_pr__pfet_01v8____, (5.685,1.8)))
sensor.add(gdstk.Reference(c_sky130_fd_pr__pfet_01v8_____, (16.07,8)))
sensor.add(gdstk.Reference(c_sky130_fd_pr__pfet_01v8______, (12.07,1.8)))
sensor.add(gdstk.Reference(c_sky130_fd_pr__pfet_01v8______, (-0.73,1.8)))
sensor.add(gdstk.Reference(c_sky130_fd_pr__pfet_01v8______, (15.97,11.4)))
sensor.add(gdstk.Reference(c_sky130_fd_pr__pfet_01v8______, (6.27,11.4)))
sensor.add(gdstk.Reference(c_sky130_fd_pr__pfet_01v8______, (-0.63,8)))
sensor.add(gdstk.Reference(sky130_fd_pr__nfet_01v8_, (9.69,-6.775)))
sensor.add(gdstk.Reference(sky130_fd_pr__nfet_01v8_, (11.59,-6.775)))
sensor.add(gdstk.Reference(sky130_fd_pr__nfet_01v8_, (7.79,-6.775)))
sensor.add(gdstk.Reference(sky130_fd_pr__nfet_01v8_, (5.89,-6.775)))
sensor.add(gdstk.Reference(sky130_fd_pr__nfet_01v8_, (3.99,-6.775)))
sensor.add(gdstk.Reference(sky130_fd_pr__nfet_01v8_, (2.09,-6.775)))
sensor.add(gdstk.Reference(sky130_fd_pr__nfet_01v8_, (0.19,-6.775)))
sensor.add(gdstk.Reference(sky130_fd_pr__nfet_01v8_, (-1.71,-6.775)))
sensor.add(gdstk.Label('a', (1.05,5.45), layer=69, texttype=5))
sensor.add(gdstk.Label('d', (8.65,9.75), layer=69, texttype=5))
sensor.add(gdstk.Label('c', (9.25,7.3), layer=68, texttype=5))
sensor.add(gdstk.Label('b', (11.5,-1.35), layer=69, texttype=5))
sensor.add(gdstk.Label('vd', (-0.4,14.5), layer=68, texttype=5))
sensor.add(gdstk.Label('vts', (17.4,2.5), layer=68, texttype=5))
sensor.add(gdstk.Label('vtd', (17.4,4.8), layer=68, texttype=5))
sensor.add(gdstk.Label('gnd', (-2,-12), layer=68, texttype=5))

lib.write_gds('sensor.gds')
